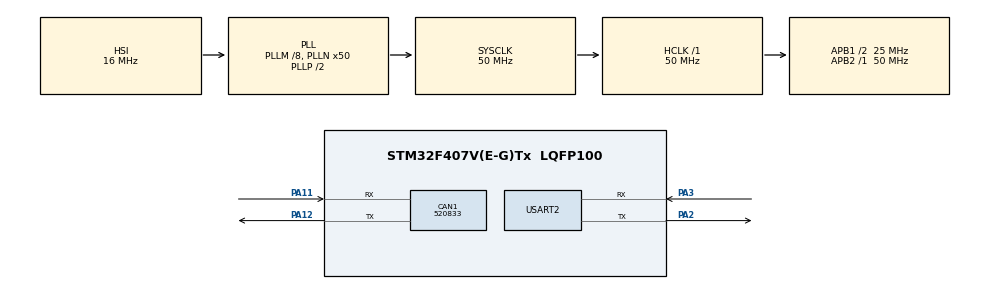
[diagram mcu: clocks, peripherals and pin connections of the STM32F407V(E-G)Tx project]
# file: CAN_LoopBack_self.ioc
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CAN1.CalculateBaudRate=520833
CAN1.CalculateTimeBit=1920
CAN1.CalculateTimeQuantum=640.0
Mcu.Family=STM32F4
Mcu.Name=STM32F407V(E-G)Tx
Mcu.Package=LQFP100
NVIC.PriorityGroup=NVIC_PRIORITYGROUP_4
PA11.Mode=CAN_Activate
PA11.Signal=CAN1_RX
PA12.Mode=CAN_Activate
PA12.Signal=CAN1_TX
PA2.Mode=Asynchronous
PA2.Signal=USART2_TX
PA3.Mode=Asynchronous
PA3.Signal=USART2_RX
ProjectManager.HeapSize=0x200
ProjectManager.StackSize=0x400
ProjectManager.TargetToolchain=STM32CubeIDE
RCC.48MHZClocksFreq_Value=25000000
RCC.AHBFreq_Value=50000000
RCC.APB1CLKDivider=RCC_HCLK_DIV2
RCC.APB1Freq_Value=25000000
RCC.APB1TimFreq_Value=50000000
RCC.APB2Freq_Value=50000000
RCC.APB2TimFreq_Value=50000000
RCC.CortexFreq_Value=50000000
RCC.HCLKFreq_Value=50000000
RCC.HSE_VALUE=25000000
RCC.HSI_VALUE=16000000
RCC.LSE_VALUE=32768
RCC.PLLM=8
RCC.PLLN=50
RCC.SYSCLKFreq_VALUE=50000000
RCC.SYSCLKSource=RCC_SYSCLKSOURCE_PLLCLK
RCC.VCOOutputFreq_Value=100000000
USART2.VirtualMode=VM_ASYNC
board=custom

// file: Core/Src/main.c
/* USER CODE BEGIN Header */
/**
  ******************************************************************************
  * @file           : main.c
  * @brief          : Main program body
  ******************************************************************************
  * @attention
  *
  * Copyright (c) 2025 STMicroelectronics.
  * All rights reserved.
  *
  * This software is licensed under terms that can be found in the LICENSE file
  * in the root directory of this software component.
  * If no LICENSE file comes with this software, it is provided AS-IS.
  *
  ******************************************************************************
  */
/* USER CODE END Header */
#include "main.h"
#include <string.h>
#include <stdio.h>

/* USER CODE BEGIN PTD */
void CAN1_Tx(void);
void CAN1_Rx(void);
void CAN_Filter_Congif(void);

/* USER CODE END PTD */

CAN_HandleTypeDef hcan1;

UART_HandleTypeDef huart2;

void SystemClock_Config(void);
static void MX_GPIO_Init(void);
static void MX_CAN1_Init(void);
static void MX_USART2_UART_Init(void);

int main(void)
{

  /* MCU Configuration--------------------------------------------------------*/

  /* Reset of all peripherals, Initializes the Flash interface and the Systick. */
  HAL_Init();

  /* Configure the system clock */
  SystemClock_Config();

  /* Initialize all configured peripherals */
  MX_GPIO_Init();
  MX_CAN1_Init();
  MX_USART2_UART_Init();
  /* USER CODE BEGIN 2 */

  CAN_Filter_Congif();

  if(HAL_CAN_Start(&hcan1)!=HAL_OK)
  {
	  Error_Handler();
  }

  CAN1_Tx();
  CAN1_Rx();

  /* USER CODE END 2 */

  /* Infinite loop */
  while (1)
  {

  }
}

void SystemClock_Config(void)
{
  RCC_OscInitTypeDef RCC_OscInitStruct = {0};
  RCC_ClkInitTypeDef RCC_ClkInitStruct = {0};

  /** Configure the main internal regulator output voltage
  */
  __HAL_RCC_PWR_CLK_ENABLE();
  __HAL_PWR_VOLTAGESCALING_CONFIG(PWR_REGULATOR_VOLTAGE_SCALE1);

  /** Initializes the RCC Oscillators according to the specified parameters
  * in the RCC_OscInitTypeDef structure.
  */
  RCC_OscInitStruct.OscillatorType = RCC_OSCILLATORTYPE_HSI;
  RCC_OscInitStruct.HSIState = RCC_HSI_ON;
  RCC_OscInitStruct.HSICalibrationValue = RCC_HSICALIBRATION_DEFAULT;
  RCC_OscInitStruct.PLL.PLLState = RCC_PLL_ON;
  RCC_OscInitStruct.PLL.PLLSource = RCC_PLLSOURCE_HSI;
  RCC_OscInitStruct.PLL.PLLM = 8;
  RCC_OscInitStruct.PLL.PLLN = 50;
  RCC_OscInitStruct.PLL.PLLP = RCC_PLLP_DIV2;
  RCC_OscInitStruct.PLL.PLLQ = 4;
  if (HAL_RCC_OscConfig(&RCC_OscInitStruct) != HAL_OK)
  {
    Error_Handler();
  }

  /** Initializes the CPU, AHB and APB buses clocks
  */
  RCC_ClkInitStruct.ClockType = RCC_CLOCKTYPE_HCLK|RCC_CLOCKTYPE_SYSCLK
                              |RCC_CLOCKTYPE_PCLK1|RCC_CLOCKTYPE_PCLK2;
  RCC_ClkInitStruct.SYSCLKSource = RCC_SYSCLKSOURCE_PLLCLK;
  RCC_ClkInitStruct.AHBCLKDivider = RCC_SYSCLK_DIV1;
  RCC_ClkInitStruct.APB1CLKDivider = RCC_HCLK_DIV2;
  RCC_ClkInitStruct.APB2CLKDivider = RCC_HCLK_DIV1;

  if (HAL_RCC_ClockConfig(&RCC_ClkInitStruct, FLASH_LATENCY_1) != HAL_OK)
  {
    Error_Handler();
  }
}

static void MX_CAN1_Init(void)
{

  /*hcan1.Instance = CAN1;
  hcan1.Init.Prescaler = 16;
  hcan1.Init.Mode = CAN_MODE_NORMAL;
  hcan1.Init.SyncJumpWidth = CAN_SJW_1TQ;
  hcan1.Init.TimeSeg1 = CAN_BS1_1TQ;
  hcan1.Init.TimeSeg2 = CAN_BS2_1TQ;
  hcan1.Init.TimeTriggeredMode = DISABLE;
  hcan1.Init.AutoBusOff = DISABLE;
  hcan1.Init.AutoWakeUp = DISABLE;
  hcan1.Init.AutoRetransmission = DISABLE;
  hcan1.Init.ReceiveFifoLocked = DISABLE;
  hcan1.Init.TransmitFifoPriority = DISABLE;*/

  /* USER CODE BEGIN CAN1_Init 2 */
	  hcan1.Instance = CAN1;
	  hcan1.Init.Prescaler = 5;
	  hcan1.Init.Mode = CAN_MODE_NORMAL;
	  hcan1.Init.SyncJumpWidth = CAN_SJW_1TQ;
	  hcan1.Init.TimeSeg1 = CAN_BS1_8TQ;
	  hcan1.Init.TimeSeg2 = CAN_BS2_1TQ;
	  hcan1.Init.TimeTriggeredMode = DISABLE;
	  hcan1.Init.AutoBusOff = DISABLE;
	  hcan1.Init.AutoWakeUp = DISABLE;
	  hcan1.Init.AutoRetransmission = DISABLE;
	  hcan1.Init.ReceiveFifoLocked = DISABLE;
	  hcan1.Init.TransmitFifoPriority = DISABLE;

	if (HAL_CAN_Init(&hcan1) != HAL_OK)
	{
	    Error_Handler();
	 }

  /* USER CODE END CAN1_Init 2 */

}

static void MX_USART2_UART_Init(void)
{

  huart2.Instance = USART2;
  huart2.Init.BaudRate = 115200;
  huart2.Init.WordLength = UART_WORDLENGTH_8B;
  huart2.Init.StopBits = UART_STOPBITS_1;
  huart2.Init.Parity = UART_PARITY_NONE;
  huart2.Init.Mode = UART_MODE_TX_RX;
  huart2.Init.HwFlowCtl = UART_HWCONTROL_NONE;
  huart2.Init.OverSampling = UART_OVERSAMPLING_16;
  if (HAL_UART_Init(&huart2) != HAL_OK)
  {
    Error_Handler();
  }

}

static void MX_GPIO_Init(void)
{

  /* GPIO Ports Clock Enable */
  __HAL_RCC_GPIOA_CLK_ENABLE();

}

/* USER CODE BEGIN 4 */
void CAN_Filter_Congif(void)
{

}

void CAN1_Tx(void)
{
    char msg[50];
    uint8_t our_message[5] = { 'H', 'E', 'L', 'L', 'O' };
    uint32_t TxMailbox;

    CAN_TxHeaderTypeDef TxHeader;
    TxHeader.DLC = 5;
    TxHeader.StdId = 0x65D;         // Standard ID
    TxHeader.IDE = CAN_ID_STD;      // Standard frame
    TxHeader.RTR = CAN_RTR_DATA;    // Data frame

    // Send CAN message
    if (HAL_CAN_AddTxMessage(&hcan1, &TxHeader, our_message, &TxMailbox) != HAL_OK)
    {
        Error_Handler(); // Transmission failed
    }

    // Wait for message to leave the mailbox
    while (HAL_CAN_IsTxMessagePending(&hcan1, TxMailbox));

    // Notify via UART
    sprintf(msg, "Message Transmitted\r\n");
    HAL_UART_Transmit(&huart2, (uint8_t*)msg, strlen(msg), HAL_MAX_DELAY);
}

void CAN1_Rx(void)
{
    CAN_RxHeaderTypeDef RxHeader;
    uint8_t rcvd_msg[9]; // Max CAN payload is 8 + 1 for '\0'
    char msg[64];

    // Wait for at least one message in FIFO0
    while (HAL_CAN_GetRxFifoFillLevel(&hcan1, CAN_RX_FIFO0) == 0);

    // Receive CAN message
    if (HAL_CAN_GetRxMessage(&hcan1, CAN_RX_FIFO0, &RxHeader, rcvd_msg) != HAL_OK)
    {
        Error_Handler(); // Reception failed
    }

    // Ensure it's a data frame with expected length (max 8)
    if (RxHeader.DLC <= 8)
    {
        rcvd_msg[RxHeader.DLC] = '\0'; // Null-terminate if it's string data

        // Format received message
        sprintf(msg, "Message Received : %s\r\n", rcvd_msg);
        HAL_UART_Transmit(&huart2, (uint8_t*)msg, strlen(msg), HAL_MAX_DELAY);
    }
    else
    {
        // Handle unexpected DLC
        sprintf(msg, "Invalid DLC: %lu\r\n", (unsigned long)RxHeader.DLC);
        HAL_UART_Transmit(&huart2, (uint8_t*)msg, strlen(msg), HAL_MAX_DELAY);
    }
}

/* USER CODE END 4 */

void Error_Handler(void)
{
  __disable_irq();
  while (1)
  {
  }
}
